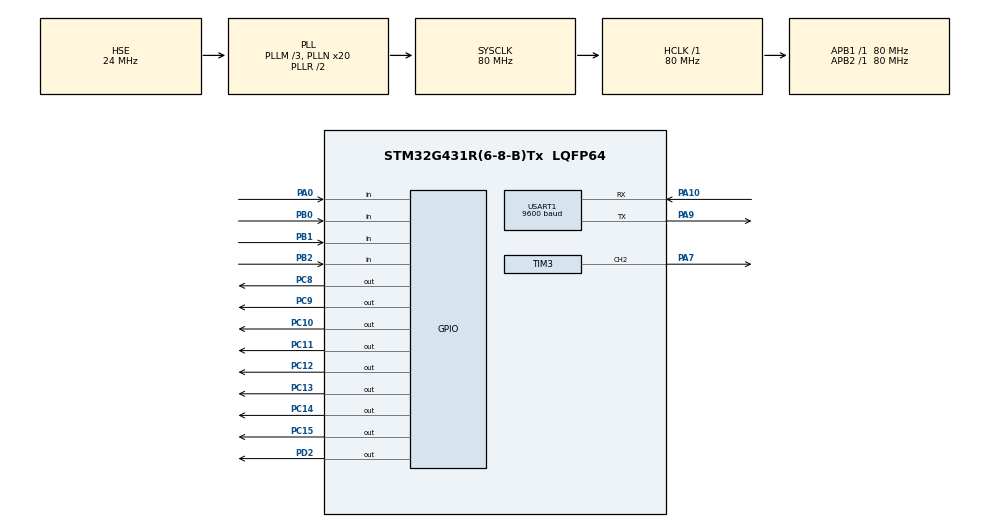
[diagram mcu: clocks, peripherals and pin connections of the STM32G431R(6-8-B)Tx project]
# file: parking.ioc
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Mcu.Family=STM32G4
Mcu.Name=STM32G431R(6-8-B)Tx
Mcu.Package=LQFP64
NVIC.PriorityGroup=NVIC_PRIORITYGROUP_4
NVIC.TIM3_IRQn=true\:0\:0\:false\:false\:true\:true\:true\:true
NVIC.USART1_IRQn=true\:0\:0\:false\:false\:true\:true\:true\:true
PA0.Signal=GPIO_Input
PA10.Mode=Asynchronous
PA10.Signal=USART1_RX
PA13.Mode=Serial_Wire
PA13.Signal=SYS_JTMS-SWDIO
PA14.Mode=Serial_Wire
PA14.Signal=SYS_JTCK-SWCLK
PA7.Signal=S_TIM3_CH2
PA9.Mode=Asynchronous
PA9.Signal=USART1_TX
PB0.Signal=GPIO_Input
PB1.Signal=GPIO_Input
PB2.Signal=GPIO_Input
PC10.Signal=GPIO_Output
PC11.Signal=GPIO_Output
PC12.Signal=GPIO_Output
PC13.Signal=GPIO_Output
PC14-OSC32_IN.Signal=GPIO_Output
PC15-OSC32_OUT.Signal=GPIO_Output
PC8.Signal=GPIO_Output
PC9.Signal=GPIO_Output
PD2.Signal=GPIO_Output
PF0-OSC_IN.Mode=HSE-External-Oscillator
PF0-OSC_IN.Signal=RCC_OSC_IN
PF1-OSC_OUT.Mode=HSE-External-Oscillator
PF1-OSC_OUT.Signal=RCC_OSC_OUT
ProjectManager.HeapSize=0x200
ProjectManager.StackSize=0x400
ProjectManager.TargetToolchain=MDK-ARM V5.32
RCC.ADC12Freq_Value=80000000
RCC.AHBFreq_Value=80000000
RCC.APB1Freq_Value=80000000
RCC.APB1TimFreq_Value=80000000
RCC.APB2Freq_Value=80000000
RCC.APB2TimFreq_Value=80000000
RCC.CortexFreq_Value=80000000
RCC.EXTERNAL_CLOCK_VALUE=12288000
RCC.HCLKFreq_Value=80000000
RCC.HSE_VALUE=24000000
RCC.HSI48_VALUE=48000000
RCC.HSI_VALUE=16000000
RCC.LSE_VALUE=32768
RCC.PLLM=RCC_PLLM_DIV3
RCC.PLLN=20
RCC.PLLSourceVirtual=RCC_PLLSOURCE_HSE
RCC.SYSCLKFreq_VALUE=80000000
RCC.SYSCLKSource=RCC_SYSCLKSOURCE_PLLCLK
RCC.USBFreq_Value=80000000
RCC.VCOOutputFreq_Value=160000000
SH.S_TIM3_CH2.0=TIM3_CH2,PWM Generation2 CH2
TIM3.Channel-PWM\ Generation2\ CH2=TIM_CHANNEL_2
TIM3.OCFastMode_PWM-PWM\ Generation2\ CH2=TIM_OCFAST_ENABLE
TIM3.PeriodNoDither=499
TIM3.Prescaler=79
USART1.BaudRate=9600
USART1.VirtualMode-Asynchronous=VM_ASYNC
VP_SYS_VS_DBSignals.Mode=DisableDeadBatterySignals
VP_TIM3_VS_ClockSourceINT.Mode=Internal
board=custom

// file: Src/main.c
/* USER CODE BEGIN Header */
/**
  ******************************************************************************
  * @file           : main.c
  * @brief          : Main program body
  ******************************************************************************
  * @attention
  *
  * Copyright (c) 2022 STMicroelectronics.
  * All rights reserved.
  *
  * This software is licensed under terms that can be found in the LICENSE file
  * in the root directory of this software component.
  * If no LICENSE file comes with this software, it is provided AS-IS.
  *
  ******************************************************************************
  */
/* USER CODE END Header */
#include "main.h"
#include "tim.h"
#include "usart.h"
#include "gpio.h"

/* USER CODE BEGIN Includes */
#include "lcd.h"
#include "stdio.h"
#include "math.h"
#include "string.h"
/* USER CODE END Includes */

void SystemClock_Config(void);

/* USER CODE BEGIN 0 */
uint8_t LCD_String[21];
uint8_t LCD_stat=0;
uint8_t IDLE=8;
uint8_t CNBR=0;
uint8_t VNBR=0;
double CNBR_p=3.5;
double VNBR_p=2.0;
uint8_t ucLed;
//*串口专用变量
uint16_t counter = 0;
uint8_t str_str[40];
uint8_t rx_buffer;
uint8_t RX_BUF[200];//用于缓冲接收200个字节的数量
uint8_t Rx_Counter;//用于记录接收了多少个数据，同时可以索引RX_BUF中的数据位置
uint16_t uwTick_Usart_Set_Point=0;

uint8_t VNBR_Use_Num;
uint8_t CNBR_Use_Num;
uint8_t No_Use_Num = 8;

typedef struct
{
	uint8_t type[5];
	uint8_t id[5];
	uint8_t year_in;
	uint8_t month_in;
	uint8_t day_in;
	uint8_t hour_in;
	uint8_t min_in;
	uint8_t sec_in;
	_Bool notEmpty;
} Car_Data_Storage_Type;

Car_Data_Storage_Type Car_Data_Storage[8];//数据库构建完毕，用于存储8个进来的车的信息

void HAL_UART_RxCpltCallback(UART_HandleTypeDef *huart)
{
	counter++;
	RX_BUF[Rx_Counter] = rx_buffer;
	Rx_Counter++;
	HAL_UART_Receive_IT(&huart1, (uint8_t *)(&rx_buffer), 1);
}

_Bool CheckCmd(uint8_t* str)//用于判别接受的22个字符是否合法
{
	if(Rx_Counter != 22)
		return 0;//表示还不够22个数据
	if(((str[0]=='C')||(str[0]=='V'))&&(str[1]=='N')&&(str[2]=='B')&&(str[3]=='R')&&(str[4]==':')&&(str[9]==':'))
	{
		uint8_t i;
		for(i = 10; i< 22;i++)
		{
			if((str[i]>'9')||(str[i]<'0'))
				return 0;
		}
		return 1;//表示接收到的数据没问题
	}
}

void substr(uint8_t* d_str, uint8_t* s_str, uint8_t locate, uint8_t length)//从长字符串里边提取出一段给短字符串
{
	uint8_t i = 0;
	for(i=0; i<length; i++)
	{
		d_str[i] = s_str[locate + i];
	}
	d_str[length] = '\0';
}

//判别车的id是否在库里边
uint8_t isExist(uint8_t* str)
{
	uint8_t i = 0;
	for(i=0; i<8; i++)
	{
		if((strcmp((const char*)str,(const char*)Car_Data_Storage[i].id)) == 0)//表示字符串匹配，有这个字符串
		{
			return i;//如果该id在数据库存着，返回这个id在数据库当中的位置
		}
	}
	return 0xFF;//如果没有，返回oxff
}

//判别数据库中0-7号，哪个位置有空档
uint8_t findLocate(void)
{
	uint8_t i = 0;
	for(i = 0;i <= 7; i++ )
	{
		if(Car_Data_Storage[i].notEmpty == 0)
			return i;//0-7号位
	}
	return 0XFF;
}

//CNBR:A392:200202120000
void USART_stat(){
	if((uwTick -  uwTick_Usart_Set_Point)<100){
		return;//减速函数
	}
	uwTick_Usart_Set_Point = uwTick;
	if(CheckCmd(RX_BUF)){
		uint8_t car_id[5];
		uint8_t car_type[5];
		uint8_t year_tmp,mon_tmp,day_tmp,hour_tmp,min_tmp,sec_tmp;

		year_tmp = (((RX_BUF[10] - '0')*10) + (RX_BUF[11] - '0'));
		mon_tmp = (((RX_BUF[12] - '0')*10) + (RX_BUF[13] - '0'));
		day_tmp = (((RX_BUF[14] - '0')*10) + (RX_BUF[15] - '0'));
		hour_tmp = (((RX_BUF[16] - '0')*10) + (RX_BUF[17] - '0'));
		min_tmp = (((RX_BUF[18] - '0')*10) + (RX_BUF[19] - '0'));
		sec_tmp = (((RX_BUF[20] - '0')*10) + (RX_BUF[21] - '0'));

		if(mon_tmp>12||day_tmp>31||hour_tmp>23||min_tmp>59||sec_tmp>59){
			goto SEND_ERROR;
		}
		substr(car_id,RX_BUF,5,4);
		substr(car_type,RX_BUF,0,4);

		if(isExist(car_id)){ //表示库里边没有这辆车的ID，表示这个车还没进入
			uint8_t locate = findLocate(); //找到哪个地方是空的
			if(locate == 0xFF){ //没有找到哪个地方是空的
			  goto SEND_ERROR;
			}
			substr(Car_Data_Storage[locate].type, car_type, 0, 4);//把当前车的类型存入
			substr(Car_Data_Storage[locate].id, car_id, 0, 4);//把当前车的id存入
			Car_Data_Storage[locate].year_in = year_tmp;
			Car_Data_Storage[locate].month_in = mon_tmp;
			Car_Data_Storage[locate].day_in = day_tmp;
			Car_Data_Storage[locate].hour_in = hour_tmp;
			Car_Data_Storage[locate].min_in = min_tmp;
			Car_Data_Storage[locate].sec_in = sec_tmp;
			Car_Data_Storage[locate].notEmpty = 1;
			if(Car_Data_Storage[locate].type[0] == 'C')
				CNBR_Use_Num++;
			else if(Car_Data_Storage[locate].type[0] == 'V')
				VNBR_Use_Num++;

			No_Use_Num--;
		}

		else if(isExist(car_id) != 0xFF)//表示数据库里有他的信息，返回他在数据库的位置
		{
			int64_t Second_derta;//用于核算小时的差值

			uint8_t in_locate = isExist(car_id);//记住在数据库中的位置

			if(strcmp((const char*)car_type,(const char*)Car_Data_Storage[in_locate].type) != 0)//说明不匹配
			{
			  goto SEND_ERROR;
			}

			//2000 2001 2002  //1   2  3
			Second_derta = (year_tmp - Car_Data_Storage[in_locate].year_in)*365*24*60*60 + (mon_tmp - Car_Data_Storage[in_locate].month_in)*30*24*60*60+\
				(day_tmp - Car_Data_Storage[in_locate].day_in)*24*60*60 + (hour_tmp - Car_Data_Storage[in_locate].hour_in)*60*60 + \
				(min_tmp - Car_Data_Storage[in_locate].min_in)*60 + (sec_tmp - Car_Data_Storage[in_locate].sec_in);

			if(Second_derta < 0)//说明出去的时间超前进去的时间
			{
					goto SEND_ERROR;
			}
//
			Second_derta = (Second_derta + 3599)/3600;  //小时数据已经核算出来
			sprintf(str_str, "%s:%s:%d:%.2f\r\n",Car_Data_Storage[in_locate].type,Car_Data_Storage[in_locate].id,(unsigned int)Second_derta,(Second_derta*(Car_Data_Storage[in_locate].id[0]=='C'?CNBR_p:VNBR_p)));
			HAL_UART_Transmit(&huart1,(unsigned char *)str_str, strlen(str_str), 50);
//
			if(Car_Data_Storage[in_locate].type[0] == 'C')
				CNBR_Use_Num--;
			else if(Car_Data_Storage[in_locate].type[0] == 'V')
				VNBR_Use_Num--;

			No_Use_Num++;

			memset(&Car_Data_Storage[in_locate],0,sizeof(Car_Data_Storage[in_locate]));//清空该位置所有内容，为0

		}
	goto CMD_YES;

	SEND_ERROR:
			sprintf(str_str, "Error\r\n");
			HAL_UART_Transmit(&huart1,(unsigned char *)str_str, strlen(str_str), 50);

	CMD_YES:
			memset(&RX_BUF[0],0,sizeof(RX_BUF));//清空该位置所有内容，为0
			Rx_Counter = 0;
	}
}

void led_set(uint8_t ucLed,uint8_t led_do){
	HAL_GPIO_WritePin(GPIOC, GPIO_PIN_13|GPIO_PIN_14|GPIO_PIN_15|GPIO_PIN_8|GPIO_PIN_9|GPIO_PIN_10|GPIO_PIN_11|GPIO_PIN_12, GPIO_PIN_SET);
	HAL_GPIO_WritePin(GPIOD,GPIO_PIN_2,GPIO_PIN_SET);
	HAL_GPIO_WritePin(GPIOD,GPIO_PIN_2,GPIO_PIN_RESET);
	if(led_do==0){
		HAL_GPIO_WritePin(GPIOC,ucLed<<8,GPIO_PIN_SET);
	}else if(led_do==1){
		HAL_GPIO_WritePin(GPIOC,ucLed<<8,GPIO_PIN_RESET);
	}
	HAL_GPIO_WritePin(GPIOD,GPIO_PIN_2,GPIO_PIN_SET);
	HAL_GPIO_WritePin(GPIOD,GPIO_PIN_2,GPIO_PIN_RESET);
}

void LCD_show(uint8_t LCD_stat){
	if(LCD_stat==0){
		LCD_Clear(Black);
		sprintf((char*)LCD_String,"       Data");
		LCD_DisplayStringLine(Line1,LCD_String);
		sprintf((char*)LCD_String,"   CNBR:%d",CNBR);
		LCD_DisplayStringLine(Line3,LCD_String);
		sprintf((char*)LCD_String,"   VNBR:%d",VNBR);
		LCD_DisplayStringLine(Line5,LCD_String);
		sprintf((char*)LCD_String,"   IDLE:%d",IDLE);
		LCD_DisplayStringLine(Line7,LCD_String);
	}else if(LCD_stat==1){
		LCD_Clear(Black);
		sprintf((char*)LCD_String,"       Para");
		LCD_DisplayStringLine(Line1,LCD_String);
		sprintf((char*)LCD_String,"   CNBR:%.2f",CNBR_p);
		LCD_DisplayStringLine(Line3,LCD_String);
		sprintf((char*)LCD_String,"   VNBR:%.2f",VNBR_p);
		LCD_DisplayStringLine(Line5,LCD_String);
	}
}

uint32_t Key_cur_timer=0;
uint8_t Key_val=0;
uint8_t Key_last=0;
uint8_t Key_next_stat=0;

uint8_t Key_scan()
{
	uint8_t Key_val=0;
	if(HAL_GPIO_ReadPin(GPIOA,GPIO_PIN_0)==GPIO_PIN_RESET)
	{
		Key_val=4;
	}
  if(HAL_GPIO_ReadPin(GPIOB,GPIO_PIN_0)==GPIO_PIN_RESET)
	{
		Key_val=1;
	}
	if(HAL_GPIO_ReadPin(GPIOB,GPIO_PIN_1)==GPIO_PIN_RESET)
	{
		Key_val=2;
	}
	if(HAL_GPIO_ReadPin(GPIOB,GPIO_PIN_2)==GPIO_PIN_RESET)
	{
		Key_val=3;
	}
	return Key_val;
}

uint8_t analogstat=0;

void analogWrite(float percent){
	const int basic_fre=500;
	float percent2=percent/100;
	int cal_ans=round(basic_fre*percent2);
	__HAL_TIM_SetCompare(&htim3,TIM_CHANNEL_2,cal_ans);
}

void Key_stat(){
	if((uwTick-Key_cur_timer)<20){
		return;
	}else{
		Key_cur_timer=uwTick;
	}
	Key_val=Key_scan();
	Key_next_stat=Key_val & (Key_last^Key_val);
	Key_last=Key_val;
	switch(Key_next_stat){
		case 1:
			LCD_stat++;
			LCD_stat=LCD_stat%2;
			LCD_show(LCD_stat);
			break;
		case 2:
			switch(LCD_stat){
			  case 1:
					CNBR_p+=0.5;
					VNBR_p+=0.5;
					break;
			}
			LCD_show(LCD_stat);
			break;
		case 3:
			switch(LCD_stat){
			  case 1:
					CNBR_p-=0.5;
					VNBR_p-=0.5;
					break;
			}
			LCD_show(LCD_stat);
			break;
		case 4:
			if(analogstat==0){
				HAL_TIM_PWM_Start(&htim3, TIM_CHANNEL_2);
				analogWrite(20);
				led_set(2,1);
				analogstat=1;
			}else{
				HAL_TIM_PWM_Stop(&htim3,TIM_CHANNEL_2);
				led_set(2,0);
				analogstat=0;
			}
			break;
		default:
			break;
	}
}
/* USER CODE END 0 */

int main(void)
{

  /* MCU Configuration--------------------------------------------------------*/

  /* Reset of all peripherals, Initializes the Flash interface and the Systick. */
  HAL_Init();

  /* Configure the system clock */
  SystemClock_Config();

  /* Initialize all configured peripherals */
  MX_GPIO_Init();
  MX_TIM3_Init();
  MX_USART1_UART_Init();
	HAL_UART_Receive_IT(&huart1, (uint8_t *)(&rx_buffer), 1);
  /* USER CODE BEGIN 2 */
	LCD_Init();
	LCD_SetBackColor(Black);
	LCD_SetTextColor(White);

	LCD_show(0);
	led_set(0,0);
  /* USER CODE END 2 */

  /* Infinite loop */
  while (1)
  {
		USART_stat();
  }
}

void SystemClock_Config(void)
{
  RCC_OscInitTypeDef RCC_OscInitStruct = {0};
  RCC_ClkInitTypeDef RCC_ClkInitStruct = {0};

  /** Configure the main internal regulator output voltage
  */
  HAL_PWREx_ControlVoltageScaling(PWR_REGULATOR_VOLTAGE_SCALE1);

  /** Initializes the RCC Oscillators according to the specified parameters
  * in the RCC_OscInitTypeDef structure.
  */
  RCC_OscInitStruct.OscillatorType = RCC_OSCILLATORTYPE_HSE;
  RCC_OscInitStruct.HSEState = RCC_HSE_ON;
  RCC_OscInitStruct.PLL.PLLState = RCC_PLL_ON;
  RCC_OscInitStruct.PLL.PLLSource = RCC_PLLSOURCE_HSE;
  RCC_OscInitStruct.PLL.PLLM = RCC_PLLM_DIV3;
  RCC_OscInitStruct.PLL.PLLN = 20;
  RCC_OscInitStruct.PLL.PLLP = RCC_PLLP_DIV2;
  RCC_OscInitStruct.PLL.PLLQ = RCC_PLLQ_DIV2;
  RCC_OscInitStruct.PLL.PLLR = RCC_PLLR_DIV2;
  if (HAL_RCC_OscConfig(&RCC_OscInitStruct) != HAL_OK)
  {
    Error_Handler();
  }

  /** Initializes the CPU, AHB and APB buses clocks
  */
  RCC_ClkInitStruct.ClockType = RCC_CLOCKTYPE_HCLK|RCC_CLOCKTYPE_SYSCLK
                              |RCC_CLOCKTYPE_PCLK1|RCC_CLOCKTYPE_PCLK2;
  RCC_ClkInitStruct.SYSCLKSource = RCC_SYSCLKSOURCE_PLLCLK;
  RCC_ClkInitStruct.AHBCLKDivider = RCC_SYSCLK_DIV1;
  RCC_ClkInitStruct.APB1CLKDivider = RCC_HCLK_DIV1;
  RCC_ClkInitStruct.APB2CLKDivider = RCC_HCLK_DIV1;

  if (HAL_RCC_ClockConfig(&RCC_ClkInitStruct, FLASH_LATENCY_2) != HAL_OK)
  {
    Error_Handler();
  }
}

void Error_Handler(void)
{
  __disable_irq();
  while (1)
  {
  }
}
